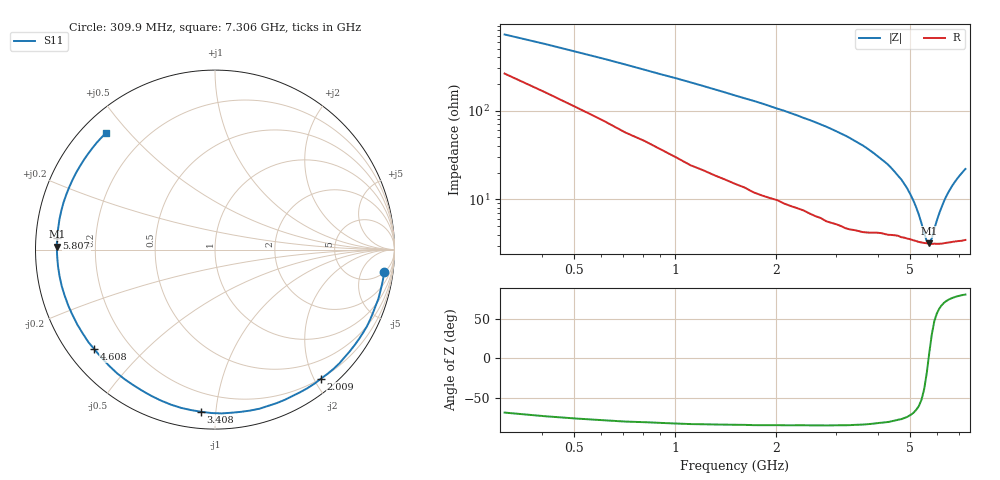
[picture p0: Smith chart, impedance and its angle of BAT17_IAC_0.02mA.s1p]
! Infineon Technologies  Discrete & RF Semiconductors
! BAT17
! IAC = 0.02 mA
! One-Port S-Parameters
# Hz  S  MA  R  50
!f  S11
!Hz  Mag  Ang
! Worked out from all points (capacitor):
!   71 points, 309.9 MHz to 7.306 GHz, reference 50 ohm
!   read as one part to ground: C = 718 fF near 309.9 MHz
!   lowest |Z| = 3.17 ohm at 5.707 GHz (marker M1)
!   series resonance near 5.678 GHz, so ESL is about 1.1 nH
!   S11 on the Smith chart (normalised r, x): 309.9 MHz: 5, -13; 2.009 GHz: 0.20, -2.09; 3.408 GHz: 0.09, -0.91; 4.608 GHz: 0.08, -0.36; 5.807 GHz: 0.06, +0.04; 7.306 GHz: 0.07, +0.43
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3.0985e8  0.9511 -7.4
7.0965e8  0.9506 -17.0
1.2094e9  0.946 -29.5
1.70915e9  0.9391 -42.4
2.009e9  0.9304 -50.7
2.10895e9  0.9302 -53.3
2.6087e9  0.9219 -68.1
2.8086e9  0.9205 -74.3
3.0085e9  0.9154 -81.0
3.2084e9  0.9134 -87.6
3.4083e9  0.9068 -94.9
3.6082e9  0.9019 -102.0
3.8081e9  0.8934 -109.8
4.008e9  0.8844 -117.6
4.30785e9  0.879 -128.4
4.6077e9  0.8719 -140.4
4.70765e9  0.8737 -143.8
5.0075e9  0.8735 -155.4
5.2074e9  0.876 -163.0
5.4073e9  0.8787 -170.3
5.6072e9  0.8802 -177.6
5.70715e9  0.8817 179.0
5.8071e9  0.8823 175.6
5.90705e9  0.8819 172.1
6.2069e9  0.8839 162.8
6.50675e9  0.8839 153.8
6.90655e9  0.886 142.9
7.30635e9  0.8895 133.0
